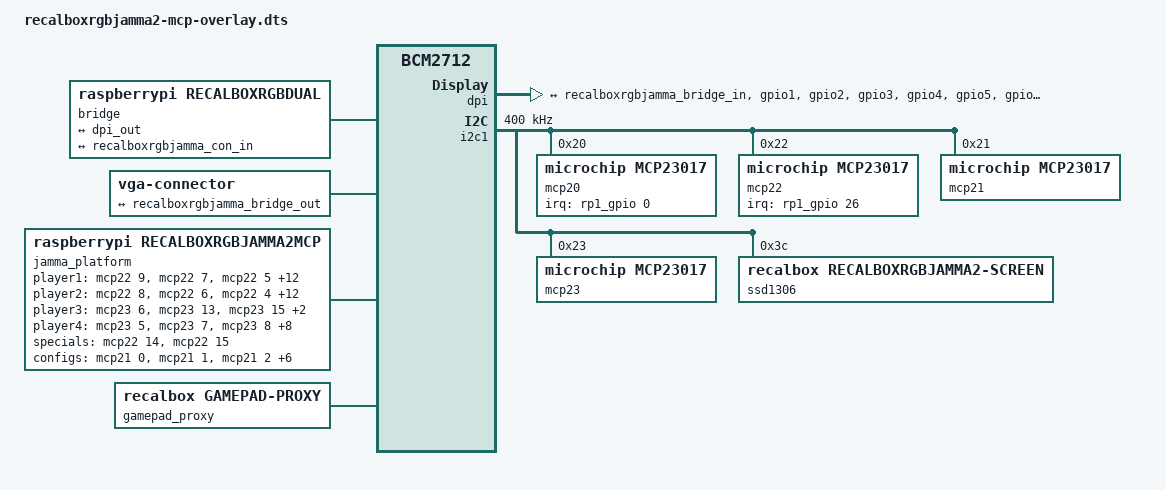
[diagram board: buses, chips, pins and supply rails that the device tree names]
/dts-v1/;
/plugin/;

#include <dt-bindings/gpio/gpio.h>
#include <dt-bindings/interrupt-controller/irq.h>


/ {
	compatible = "brcm,bcm2712";

	fragment@0 {
		target-path = "/";

		__overlay__ {
			bridge: recalboxrgbjamma {
				compatible = "raspberrypi,recalboxrgbdual";
				#address-cells = <1>;
				#size-cells = <0>;

				vc4-vga666-mode = <6>;
				recalbox-rgb-jamma-2 = <1>;

				ports {
					#address-cells = <1>;
					#size-cells = <0>;

					port@0 {
						reg = <0>;

						recalboxrgbjamma_bridge_in: endpoint {
							remote-endpoint = <&dpi_out>;
						};
					};

					port@1 {
						reg = <1>;

						recalboxrgbjamma_bridge_out: endpoint {
							remote-endpoint = <&recalboxrgbjamma_con_in>;
						};
					};
				};
			};

			vga {
				compatible = "vga-connector";

				port {
					recalboxrgbjamma_con_in: endpoint {
						remote-endpoint = <&recalboxrgbjamma_bridge_out>;
					};
				};
			};
		};
	};

	fragment@2 {
		target = <&dpi>;

		__overlay__ {
			status = "okay";
			pinctrl-names = "default";
			pinctrl-0 = <&rgbjamma_mode6_pins>;

			port {
				dpi_out: endpoint@0 {
					remote-endpoint = <&recalboxrgbjamma_bridge_in>;
				};
			};
		};
	};

	fragment@4 {
		target = <&gpio>;

		__overlay__ {
			rgbjamma_mode6_pins: rgbjamma_mode6_pins {
				function = "dpi";
				pins = "gpio1", "gpio2", "gpio3", "gpio4", "gpio5", "gpio6", "gpio7", "gpio8", "gpio9", "gpio12",
					   "gpio13", "gpio14", "gpio15", "gpio16", "gpio17", "gpio20", "gpio21", "gpio22", "gpio23",
					   "gpio24", "gpio25";
				bias-disable;
			};
		};
	};

	fragment@50 {
		target = <&rp1_gpio>;

		__overlay__ {
			rp1_i2s0_jamma: rp1_i2s0_jamma {
				function = "i2s0";
				pins = "gpio18", "gpio19", "gpio27";
				bias-disable;
			};
		};
	};

	fragment@51 {
		target = <&i2s_clk_producer>;

		__overlay__ {
			#sound-dai-cells = <0>;
			pinctrl-names = "default";
			pinctrl-0 = <&rp1_i2s0_jamma>;
			status = "okay";
		};
	};

	fragment@52 {
		target = <&sound>;

		__overlay__ {
			compatible = "simple-audio-card";
			simple-audio-card,name = "Recalbox RGB JAMMA 2";
			status = "okay";

			simple-audio-card,dai-link@1 {
				format = "i2s";

				cpu {
					sound-dai = <&i2s_clk_producer>;
					dai-tdm-slot-num = <2>;
					dai-tdm-slot-width = <32>;
				};

				codec {
					sound-dai = <&codec_out>;
				};
			};
		};
	};

	fragment@53 {
		target-path = "/";

		__overlay__ {
			codec_out: recalbox_i2s {
				#sound-dai-cells = <0>;
				compatible = "recalbox_i2s";
				status = "okay";
			};
		};
	};

	fragment@7 {
		target = <&rp1_gpio>;

		__overlay__ {
			irq_gpio_0: irq_gpio_0_conf {
				function = "gpio";
				pins = "gpio0";
				bias-pull-up;
			};
			irq_gpio_26: irq_gpio_26_conf {
				function = "gpio";
				pins = "gpio26";
				bias-pull-up;
			};
		};
	};

	fragment@8 {
		target = <&i2c1>;

		fragi2c: __overlay__ {
			status = "okay";
			pinctrl-names = "default";
			pinctrl-0 = <&rp1_i2c1_10_11>;
			clock-frequency = <400000>;
			read-timeout-ms = <50>;

			mcp20: mcp20@20 {
				compatible = "microchip,mcp23017";
				gpio-controller;
				#gpio-cells = <2>;
				reg = <0x20>;

				interrupt-parent = <&rp1_gpio>;
				interrupts = <0 IRQ_TYPE_EDGE_BOTH>;
				interrupt-controller;
				#interrupt-cells = <2>;
				microchip,irq-mirror;

				interrupt-names = "mcp20@20 irq";
				pinctrl-names = "default";
				pinctrl-0 = <&irq_gpio_0>, <&gpio20pullups>;

				gpio20pullups: pinmux {
					pins = "gpio0", "gpio1", "gpio2", "gpio3", "gpio4", "gpio5", "gpio6", "gpio7", "gpio8", "gpio9",
						   "gpio10", "gpio11", "gpio12", "gpio13", "gpio14", "gpio15";
					bias-pull-up;
				};
			};
			mcp22: mcp22@22 {
				compatible = "microchip,mcp23017";
				gpio-controller;
				#gpio-cells = <2>;
				reg = <0x22>;

				interrupt-parent = <&rp1_gpio>;
				interrupts = <26 IRQ_TYPE_EDGE_BOTH>;
				interrupt-controller;
				#interrupt-cells = <2>;
				microchip,irq-mirror;

				interrupt-names = "mcp22@22 irq";
				pinctrl-names = "default";
				pinctrl-0 = <&irq_gpio_26>, <&gpio22pullups>;

				gpio22pullups: pinmux {
					pins = "gpio0", "gpio1", "gpio2", "gpio3", "gpio4", "gpio5", "gpio6", "gpio7", "gpio8", "gpio9",
						   "gpio10", "gpio11", "gpio12", "gpio13", "gpio14", "gpio15";
					bias-pull-up;
				};
			};
			mcp21: mcp21@21 {
				compatible = "microchip,mcp23017";
				gpio-controller;
				#gpio-cells = <2>;
				reg = <0x21>;
				pinctrl-names = "default";
				pinctrl-0 = <&gpio21pullups>;

				gpio21pullups: pinmux {
					pins = "gpio8", "gpio9", "gpio10", "gpio11", "gpio12", "gpio13", "gpio14", "gpio15";
					bias-pull-up;
				};
			};
			mcp23: mcp23@23 {
				compatible = "microchip,mcp23017";
				gpio-controller;
				#gpio-cells = <2>;
				reg = <0x23>;

				pinctrl-names = "default";
				pinctrl-0 = <&gpio23pullups>;

				gpio23pullups: pinmux {
					pins = "gpio0", "gpio1", "gpio2", "gpio3", "gpio4", "gpio5", "gpio6", "gpio7", "gpio8", "gpio9",
						   "gpio10", "gpio11", "gpio12", "gpio13", "gpio14", "gpio15";
					bias-pull-up;
				};
			};
			ssd1306: ssd1306@3c {
				compatible = "recalbox,recalboxrgbjamma2-screen";
				reg = <0x3c>;
			};
		};
	};

	fragment@100 {
		target-path = "/";

		__overlay__ {
			jamma_platform: jamma_platform {
				status = "okay";
				compatible = "raspberrypi,recalboxrgbjamma2mcp";
				rev = <4>;
				pinctrl-names = "default";
				//              UP          , DOWN        , LEFT        , RIGHT       , B1          , B2           , B3            , B4         , B5          ,   B6          , START        , COIN          , B4K         , B5K         , B6K
				player1-gpios = <&mcp22 9 0>, <&mcp22 7 0>, <&mcp22 5 0>, <&mcp22 3 0>, <&mcp22 1 0>, <&mcp20 15 0>, <&mcp20 13 0>, <&mcp20 9 0>, <&mcp20 8 0>,   <&mcp20 6 0>, <&mcp22 11 0>, <&mcp22 13 0>, <&mcp20 5 0>, <&mcp20 4 0>, <&mcp20 3 0>;
				player2-gpios = <&mcp22 8 0>, <&mcp22 6 0>, <&mcp22 4 0>, <&mcp22 2 0>, <&mcp22 0 0>, <&mcp20 14 0>, <&mcp20 12 0>, <&mcp20 11 0>, <&mcp20 10 0>, <&mcp20 7 0>, <&mcp22 10 0>, <&mcp22 12 0>, <&mcp20 2 0>, <&mcp20 1 0>, <&mcp20 0 0>;
				//              P3-UP       , P3-B3        , P3-B4        , P3-LOCK,    , P3-START
				player3-gpios = <&mcp23 6 0>, <&mcp23 13 0>, <&mcp23 15 0>, <&mcp23 1 0>, <&mcp23 4 0>;
				//              P4-UP       , P4-DOWN     , P4-LEFT     , P4-RIGHT    , P4-B1         , P4-B2        , P4-B3        , P4-B4        , P4-LOCK     , P4-START    , P4-COIN
				player4-gpios = <&mcp23 5 0>, <&mcp23 7 0>, <&mcp23 8 0>, <&mcp23 9 0>,  <&mcp23 10 0>, <&mcp23 11 0>, <&mcp23 12 0>, <&mcp23 14 0>, <&mcp23 0 0>, <&mcp23 3 0>, <&mcp23 2 0>;
				//              TEST        , SERVICE
				specials-gpios = <&mcp22 14 0>, <&mcp22 15 0>;
				//               CC_P1       , CC_P2       , VIDEO_BYPASS , IS2_FILTER  , AMP_DISABLE , GAIN0       , GAIN1       , FAN          , B6 GND
				configs-gpios   = <&mcp21 0 0>, <&mcp21 1 0>, <&mcp21 2 0> , <&mcp21 3 0>, <&mcp21 4 0>, <&mcp21 5 0>, <&mcp21 6 0>, <&mcp21 7 0>, <&mcp21 15 0>;
			};
		};
	};

	fragment@101 {
		target-path = "/";

		__overlay__ {
			gamepad_proxy: gamepad-proxy {
				compatible = "recalbox,gamepad-proxy";
				no-debug;
				grab;
				/* Combo modifier: 0=START, 1=MODE, 2=DISABLED */
				combo-modifier = <0>;
				/* Filter devices by name (substring match) */
				device-filter = "JammaController";
				/* ===== Timing Settings ===== */
				/* Long press duration to trigger exit combo (ms), 0 to disable */
				longpress-ms = <4000>;
				/* Duration of exit combo press (ms) */
				exit-combo-release-ms = <50>;
				/* Delay for modifier tap (ms) */
				modifier-tap-delay-ms = <100>;
				/* Button release debounce (ms), 0 to disable */
				debounce-ms = <10>;
				/* ===== Feature Toggles ===== */
				/* SHIFT long press = START+MODE (exit) */
				longpress-exit;
				/* L3+R3 = START+MODE (exit) */
				thumbstick-exit;
				/* SHIFT + button = MODE + button */
				shift-mode-passthrough;
				/* SHIFT + Up/Down = Volume */
				shift-volume;
				/* SHIFT + SOUTH = SELECT (credit) */
				shift-credit;
			};
		};
	};

	__overrides__ {
		baudrate = <&fragi2c>, "clock-frequency:0";
		rev = <&jamma_platform>, "rev:0";
	};
};
